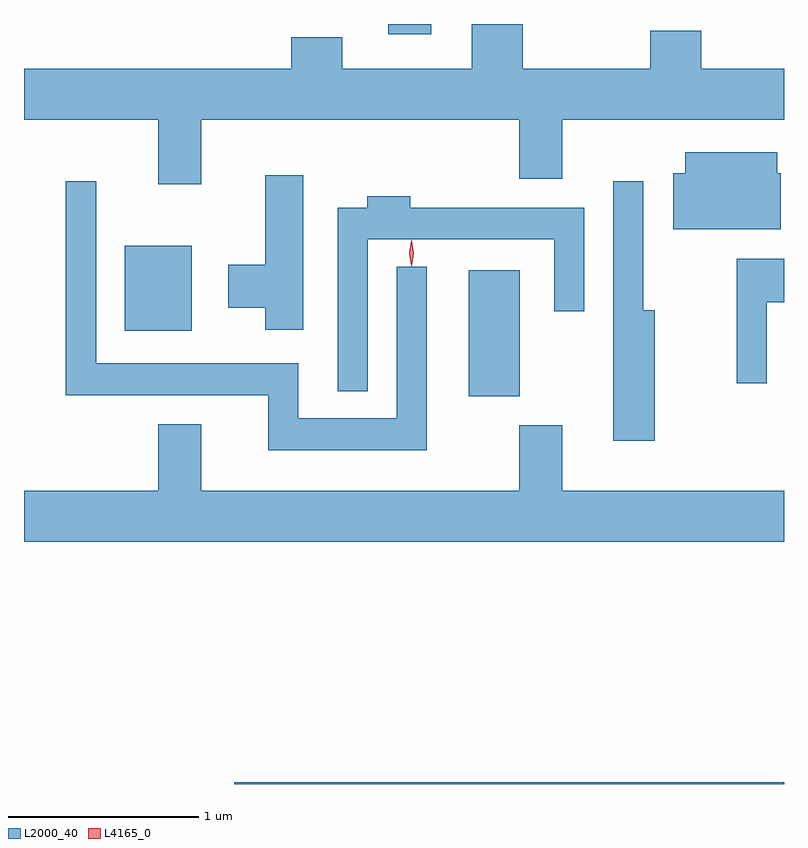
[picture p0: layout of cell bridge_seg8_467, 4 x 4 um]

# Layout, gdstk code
import gdstk
lib = gdstk.Library(unit=1e-6, precision=1e-09)
def R(c, l, rs):  # rectangles x0, y0, x1, y1
    for r in rs: c.add(gdstk.rectangle(r[:2], r[2:], *l))
def P(c, l, *ps):  # polygons
    for p in ps: c.add(gdstk.Polygon(p, *l))
L2000_40 = (2000, 40)
L4165_0 = (4165, 0)

bridge_seg8_467 = lib.new_cell('bridge_seg8_467')
R(bridge_seg8_467, L2000_40, [(531.481,1930.6,534.375,1930.609), (532.716,1932.641,532.984,1933.304), (530.906,1932.986,531.259,1933.434), (532.291,1934.546,532.519,1934.6)])
P(bridge_seg8_467, L2000_40, [(531.309,1934.096),(532.981,1934.096),(532.981,1933.786),(533.209,1933.786),(533.209,1934.096),(534.375,1934.096),(534.375,1934.364),(533.939,1934.364),(533.939,1934.564),(533.671,1934.564),(533.671,1934.364),(532.999,1934.364),(532.999,1934.6),(532.731,1934.6),(532.731,1934.364),(532.049,1934.364),(532.049,1934.529),(531.781,1934.529),(531.781,1934.364),(530.375,1934.364),(530.375,1934.096),(531.081,1934.096),(531.081,1933.756),(531.309,1933.756)],
  [(534.359,1933.814),(534.339,1933.814),(534.339,1933.924),(533.856,1933.924),(533.856,1933.814),(533.791,1933.814),(533.791,1933.521),(534.359,1933.521)],
  [(531.844,1933.804),(531.646,1933.804),(531.646,1933.334),(531.451,1933.334),(531.451,1933.106),(531.646,1933.106),(531.646,1932.991),(531.844,1932.991)],
  [(532.494,1933.323),(532.336,1933.323),(532.336,1932.524),(531.819,1932.524),(531.819,1932.814),(530.754,1932.814),(530.754,1933.773),(530.596,1933.773),(530.596,1932.646),(531.661,1932.646),(531.661,1932.356),(532.494,1932.356)],
  [(533.694,1933.094),(533.634,1933.094),(533.634,1933.773),(533.476,1933.773),(533.476,1932.406),(533.694,1932.406)],
  [(532.184,1933.466),(533.166,1933.466),(533.166,1933.088),(533.324,1933.088),(533.324,1933.634),(532.409,1933.634),(532.409,1933.694),(532.181,1933.694),(532.181,1933.634),(532.026,1933.634),(532.026,1932.668),(532.184,1932.668)],
  [(534.284,1933.136),(534.375,1933.136),(534.375,1933.364),(534.126,1933.364),(534.126,1932.708),(534.284,1932.708)],
  [(534.375,1932.144),(533.209,1932.144),(533.209,1932.489),(532.981,1932.489),(532.981,1932.144),(531.309,1932.144),(531.309,1932.494),(531.081,1932.494),(531.081,1932.144),(530.375,1932.144),(530.375,1931.876),(534.375,1931.876)])
P(bridge_seg8_467, L4165_0, [(532.415,1933.324),(532.406,1933.394),(532.416,1933.462),(532.416,1933.463),(532.417,1933.462),(532.426,1933.393),(532.416,1933.324),(532.416,1933.324)],
  [(532.412,1933.327),(532.403,1933.394),(532.412,1933.46),(532.413,1933.461),(532.413,1933.46),(532.423,1933.394),(532.413,1933.327),(532.413,1933.327)])

lib.write_gds('bridge_seg8_467.gds')
